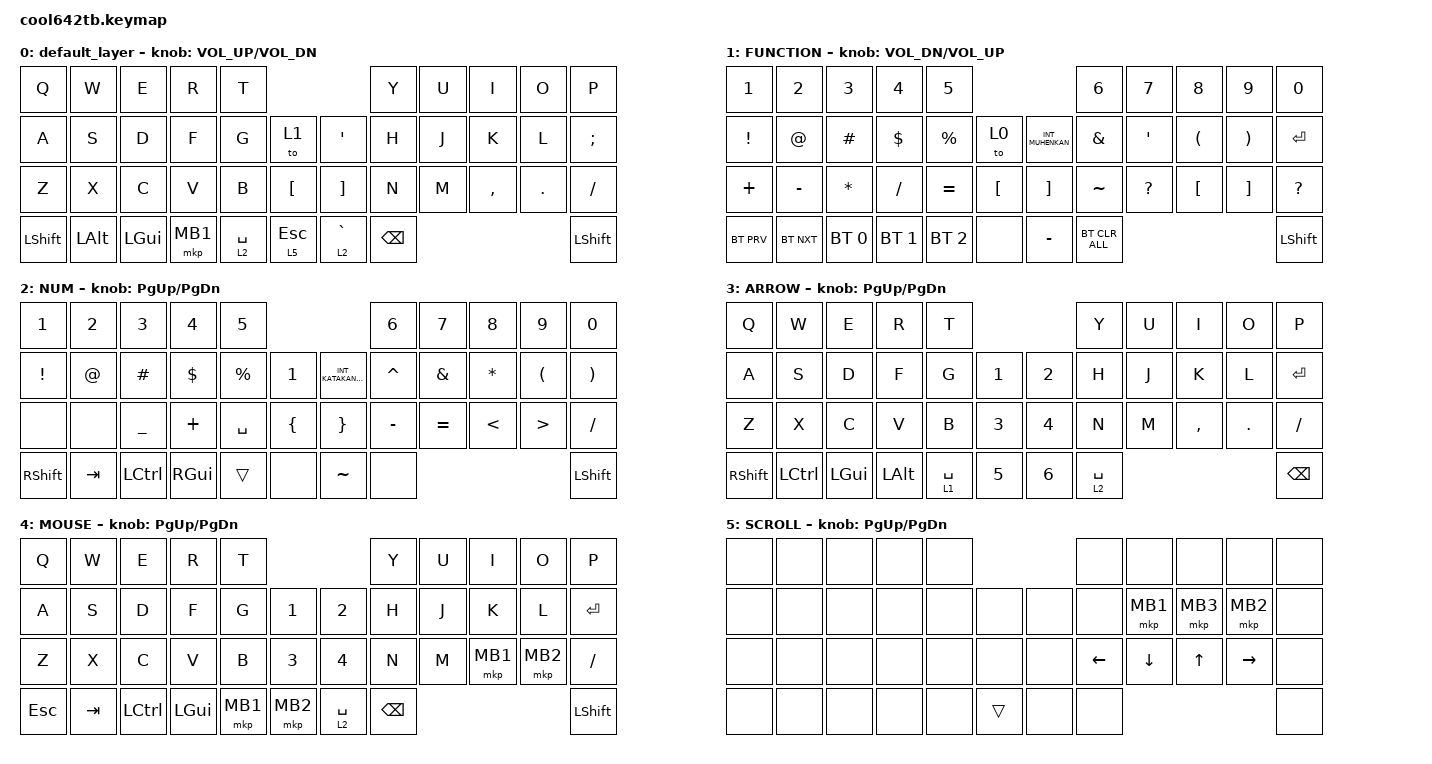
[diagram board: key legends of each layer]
#include <behaviors.dtsi>
#include <dt-bindings/zmk/bt.h>
#include <dt-bindings/zmk/keys.h>
#include <dt-bindings/zmk/pointing.h>

#define MOUSE 4
#define SCROLL 5
#define NUM 6

&mt {
    flavor = "balanced";
    quick-tap-ms = <0>;
};

/ {
    combos { compatible = "zmk,combos"; };

    macros {
        to_layer_0: to_layer_0 {
            compatible = "zmk,behavior-macro-one-param";
            #binding-cells = <1>;
            bindings = <&to 0 &macro_param_1to1 &kp MACRO_PLACEHOLDER>;
            label = "TO_LAYER_0";
        };
    };

    behaviors {
        lt_to_layer_0: lt_to_layer_0 {
            compatible = "zmk,behavior-hold-tap";
            label = "LAYER_TAP_TO_0";
            bindings = <&mo>, <&to_layer_0>;

            #binding-cells = <2>;
            tapping-term-ms = <200>;
        };
    };

    keymap {
        compatible = "zmk,keymap";

        default_layer {
            bindings = <
&kp Q           &kp W         &kp E         &kp R     &kp T                                             &kp Y          &kp U  &kp I      &kp O       &kp P
&kp A           &kp S         &kp D         &kp F     &kp G        &to 1             &kp SINGLE_QUOTE   &kp H          &kp J  &kp K      &kp L       &kp SEMICOLON
&kp Z           &kp X         &kp C         &kp V     &kp B        &kp LEFT_BRACKET  &kp RIGHT_BRACKET  &kp N          &kp M  &kp COMMA  &kp PERIOD  &kp SLASH
&kp LEFT_SHIFT  &kp LEFT_ALT  &kp LEFT_GUI  &mkp MB1  &lt 2 SPACE  &lt 5 ESCAPE      &lt 2 GRAVE        &kp BACKSPACE                                &kp LEFT_SHIFT
            >;

            sensor-bindings = <&inc_dec_kp C_VOL_UP C_VOL_DN>;
        };

        FUNCTION {
            bindings = <
&kp N1           &kp N2       &kp N3        &kp N4        &kp N5                                             &kp N6          &kp N7        &kp N8                &kp N9                 &kp N0
&kp EXCLAMATION  &kp AT_SIGN  &kp HASH      &kp DOLLAR    &kp PERCENT   &to 0             &kp INT_MUHENKAN   &kp AMPERSAND   &kp SQT       &kp LEFT_PARENTHESIS  &kp RIGHT_PARENTHESIS  &kp ENTER
&kp PLUS         &kp MINUS    &kp ASTERISK  &kp SLASH     &kp EQUAL     &kp LEFT_BRACKET  &kp RIGHT_BRACKET  &kp TILDE       &kp QUESTION  &kp LEFT_BRACKET      &kp RIGHT_BRACKET      &kp QUESTION
&bt BT_PRV       &bt BT_NXT   &bt BT_SEL 0  &bt BT_SEL 1  &bt BT_SEL 2  &none             &kp MINUS          &bt BT_CLR_ALL                                                             &kp LEFT_SHIFT
            >;

            sensor-bindings = <&inc_dec_kp C_VOL_DN C_VOL_UP>;
        };

        NUM {
            bindings = <
&kp N1           &kp N2       &kp N3          &kp N4      &kp N5                                                 &kp N6     &kp N7         &kp N8         &kp N9                &kp N0
&kp EXCLAMATION  &kp AT_SIGN  &kp HASH        &kp DOLLAR  &kp PERCENT  &kp N1          &kp INT_KATAKANAHIRAGANA  &kp CARET  &kp AMPERSAND  &kp ASTERISK   &kp LEFT_PARENTHESIS  &kp RIGHT_PARENTHESIS
&none            &none        &kp UNDERSCORE  &kp PLUS    &kp SPACE    &kp LEFT_BRACE  &kp RIGHT_BRACE           &kp MINUS  &kp EQUAL      &kp LESS_THAN  &kp GREATER_THAN      &kp SLASH
&kp RSHIFT       &kp TAB      &kp LCTRL       &kp RGUI    &trans       &none           &kp TILDE                 &none                                                          &kp LEFT_SHIFT
            >;

            sensor-bindings = <&inc_dec_kp PG_UP PAGE_DOWN>;
        };

        ARROW {
            bindings = <
&kp Q       &kp W      &kp E     &kp R     &kp T                        &kp Y        &kp U  &kp I      &kp O       &kp P
&kp A       &kp S      &kp D     &kp F     &kp G        &kp N1  &kp N2  &kp H        &kp J  &kp K      &kp L       &kp ENTER
&kp Z       &kp X      &kp C     &kp V     &kp B        &kp N3  &kp N4  &kp N        &kp M  &kp COMMA  &kp PERIOD  &kp SLASH
&kp RSHIFT  &kp LCTRL  &kp LGUI  &kp LALT  &lt 1 SPACE  &kp N5  &kp N6  &lt 2 SPACE                                &kp BSPC
            >;

            sensor-bindings = <&inc_dec_kp PG_UP PAGE_DOWN>;
        };

        MOUSE {
            bindings = <
&kp Q       &kp W    &kp E             &kp R         &kp T                            &kp Y          &kp U  &kp I     &kp O     &kp P
&kp A       &kp S    &kp D             &kp F         &kp G     &kp N1    &kp N2       &kp H          &kp J  &kp K     &kp L     &kp ENTER
&kp Z       &kp X    &kp C             &kp V         &kp B     &kp N3    &kp N4       &kp N          &kp M  &mkp MB1  &mkp MB2  &kp SLASH
&kp ESCAPE  &kp TAB  &kp LEFT_CONTROL  &kp LEFT_GUI  &mkp MB1  &mkp MB2  &lt 2 SPACE  &kp BACKSPACE                             &kp LEFT_SHIFT
            >;

            sensor-bindings = <&inc_dec_kp PG_UP PAGE_DOWN>;
        };

        SCROLL {
            bindings = <
&none  &none  &none  &none  &none                 &none           &none           &none         &none            &none
&none  &none  &none  &none  &none  &none   &none  &none           &mkp MB1        &mkp MB3      &mkp MB2         &none
&none  &none  &none  &none  &none  &none   &none  &kp LEFT_ARROW  &kp DOWN_ARROW  &kp UP_ARROW  &kp RIGHT_ARROW  &none
&none  &none  &none  &none  &none  &trans  &none  &none                                                          &none
            >;

            sensor-bindings = <&inc_dec_kp PG_UP PAGE_DOWN>;
        };
    };
};
